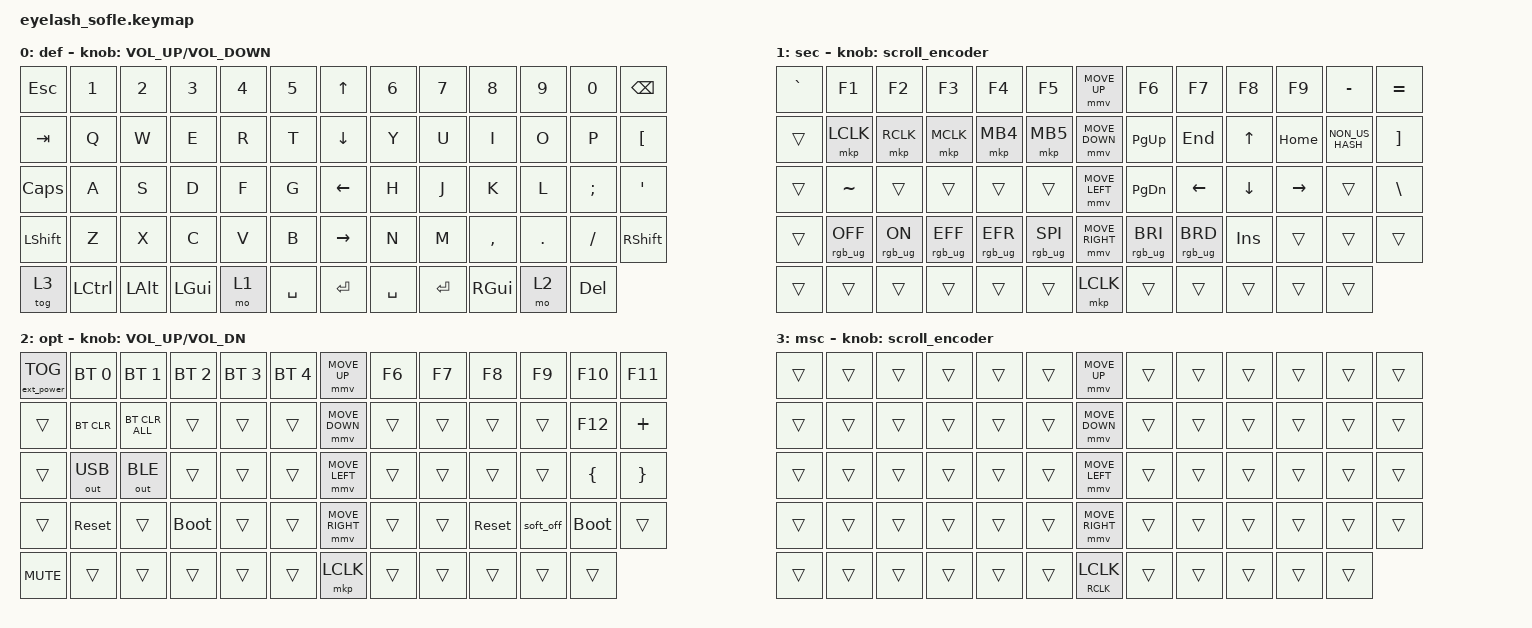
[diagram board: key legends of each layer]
#define ZMK_POINTING_DEFAULT_MOVE_VAL 1200  // 600
#define ZMK_POINTING_DEFAULT_SCRL_VAL 25   // 10

#include <input/processors.dtsi>
#include <zephyr/dt-bindings/input/input-event-codes.h>
#include <behaviors.dtsi>
#include <dt-bindings/zmk/bt.h>
#include <dt-bindings/zmk/ext_power.h>
#include <dt-bindings/zmk/keys.h>
#include <dt-bindings/zmk/outputs.h>
#include <dt-bindings/zmk/pointing.h>
#include <dt-bindings/zmk/rgb.h>

&mmv_input_listener { input-processors = <&zip_xy_scaler 2 1>; };

&msc_input_listener { input-processors = <&zip_scroll_scaler 2 1>; };

&msc {
    acceleration-exponent = <1>;      // 0
    time-to-max-speed-ms = <100>;       // 300
    delay-ms = <0>;                   // 0
};

&mmv {
    time-to-max-speed-ms = <500>;
    acceleration-exponent = <1>;
    trigger-period-ms = <16>;
};

/ {
    scroll_encoder: scroll_encoder {
        compatible = "zmk,behavior-sensor-rotate";
        #sensor-binding-cells = <0>;
        bindings = <&msc SCRL_DOWN>, <&msc SCRL_UP>;

        tap-ms = <100>;
    };

    holdMScntrl: holdMScntrl {
        compatible = "zmk,behavior-hold-tap";
        label = "HOLDMSCNTRL";
        bindings = <&mkp>, <&mkp>;

        #binding-cells = <2>;
        tapping-term-ms = <200>;
    };

    behaviors {
    };

    keymap {
        compatible = "zmk,keymap";

        def {
            bindings = <
&kp ESC    &kp N1     &kp N2        &kp N3        &kp N4  &kp N5       &kp UP_ARROW     &kp N6     &kp N7     &kp N8         &kp N9   &kp N0      &kp BACKSPACE
&kp TAB    &kp Q      &kp W         &kp E         &kp R   &kp T        &kp DOWN_ARROW   &kp Y      &kp U      &kp I          &kp O    &kp P       &kp LEFT_BRACKET
&kp CAPS   &kp A      &kp S         &kp D         &kp F   &kp G        &kp LEFT_ARROW   &kp H      &kp J      &kp K          &kp L    &kp SEMI    &kp APOS
&kp LSHFT  &kp Z      &kp X         &kp C         &kp V   &kp B        &kp RIGHT_ARROW  &kp N      &kp M      &kp COMMA      &kp DOT  &kp FSLH    &kp RIGHT_SHIFT
&tog 3     &kp LCTRL  &kp LEFT_ALT  &kp LEFT_GUI  &mo 1   &kp SPACE    &kp ENTER        &kp SPACE  &kp ENTER  &kp RIGHT_GUI  &mo 2    &kp DELETE
            >;

            sensor-bindings = <&inc_dec_kp C_VOLUME_UP C_VOLUME_DOWN>;
            display-name = "def";
        };

        sec {
            bindings = <
&kp GRAVE  &kp F1           &kp F2          &kp F3           &kp F4           &kp F5             &mmv MOVE_UP     &kp F6           &kp F7           &kp F8      &kp F9     &kp MINUS        &kp EQUAL
&trans     &mkp LCLK        &mkp RCLK       &mkp MCLK        &mkp MB4         &mkp MB5           &mmv MOVE_DOWN   &kp PG_UP        &kp END          &kp UP      &kp HOME   &kp NON_US_HASH  &kp RIGHT_BRACKET
&trans     &kp TILDE        &trans          &trans           &trans           &trans             &mmv MOVE_LEFT   &kp PG_DN        &kp LEFT         &kp DOWN    &kp RIGHT  &trans           &kp BSLH
&trans     &rgb_ug RGB_OFF  &rgb_ug RGB_ON  &rgb_ug RGB_EFF  &rgb_ug RGB_EFR  &rgb_ug RGB_SPI    &mmv MOVE_RIGHT  &rgb_ug RGB_BRI  &rgb_ug RGB_BRD  &kp INSERT  &trans     &trans           &trans
&trans     &trans           &trans          &trans           &trans           &trans             &mkp LCLK        &trans           &trans           &trans      &trans     &trans
            >;

            display-name = "sec";
            sensor-bindings = <&scroll_encoder>;
        };

        opt {
            bindings = <
&ext_power EP_TOG  &bt BT_SEL 0  &bt BT_SEL 1    &bt BT_SEL 2  &bt BT_SEL 3  &bt BT_SEL 4    &mmv MOVE_UP     &kp F6  &kp F7  &kp F8      &kp F9     &kp F10      &kp F11
&trans             &bt BT_CLR    &bt BT_CLR_ALL  &trans        &trans        &trans          &mmv MOVE_DOWN   &trans  &trans  &trans      &trans     &kp F12      &kp PLUS
&trans             &out OUT_USB  &out OUT_BLE    &trans        &trans        &trans          &mmv MOVE_LEFT   &trans  &trans  &trans      &trans     &kp LBRC     &kp RBRC
&trans             &sys_reset    &trans          &bootloader   &trans        &trans          &mmv MOVE_RIGHT  &trans  &trans  &sys_reset  &soft_off  &bootloader  &trans
&kp K_MUTE         &trans        &trans          &trans        &trans        &trans          &mkp LCLK        &trans  &trans  &trans      &trans     &trans
            >;

            sensor-bindings = <&inc_dec_kp C_VOLUME_UP C_VOL_DN>;
            label = "opt";
        };

        msc {
            bindings = <
&trans  &trans  &trans  &trans  &trans  &trans    &mmv MOVE_UP            &trans  &trans  &trans  &trans  &trans  &trans
&trans  &trans  &trans  &trans  &trans  &trans    &mmv MOVE_DOWN          &trans  &trans  &trans  &trans  &trans  &trans
&trans  &trans  &trans  &trans  &trans  &trans    &mmv MOVE_LEFT          &trans  &trans  &trans  &trans  &trans  &trans
&trans  &trans  &trans  &trans  &trans  &trans    &mmv MOVE_RIGHT         &trans  &trans  &trans  &trans  &trans  &trans
&trans  &trans  &trans  &trans  &trans  &trans    &holdMScntrl RCLK LCLK  &trans  &trans  &trans  &trans  &trans
            >;

            sensor-bindings = <&scroll_encoder>;
        };
    };
};
